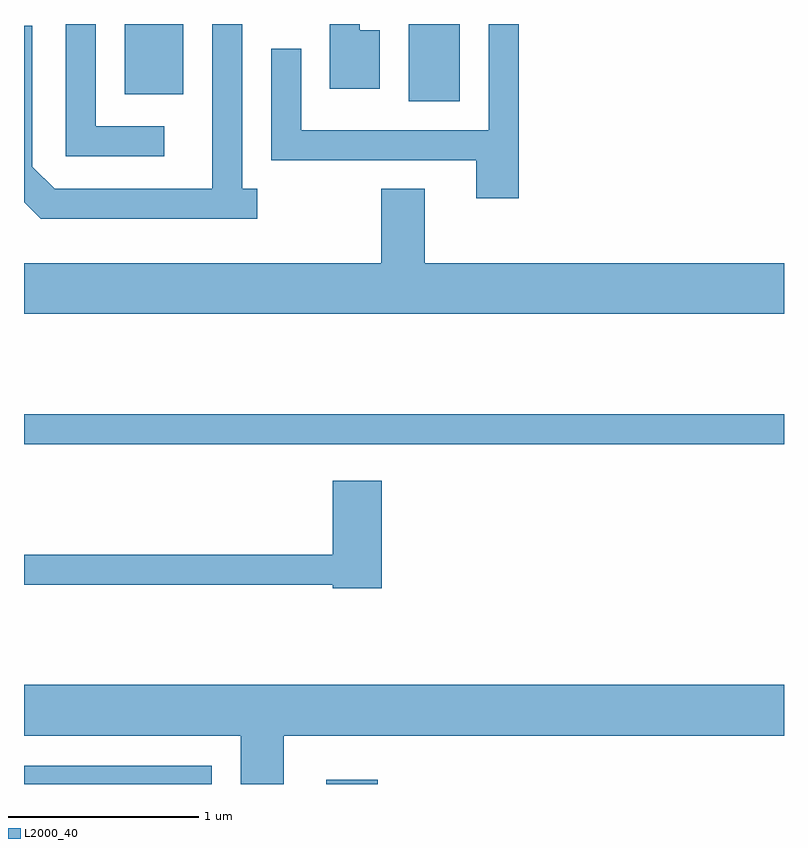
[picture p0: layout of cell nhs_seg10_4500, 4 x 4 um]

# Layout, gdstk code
import gdstk
lib = gdstk.Library(unit=1e-6, precision=1e-09)
def R(c, l, rs):  # rectangles x0, y0, x1, y1
    for r in rs: c.add(gdstk.rectangle(r[:2], r[2:], *l))
def P(c, l, *ps):  # polygons
    for p in ps: c.add(gdstk.Polygon(p, *l))
L2000_40 = (2000, 40)

nhs_seg10_4500 = lib.new_cell('nhs_seg10_4500')
R(nhs_seg10_4500, L2000_40, [(317.611,2142.522,318.599,2142.619), (319.203,2142.522,319.474,2142.544), (317.611,2144.311,321.611,2144.469), (319.636,2146.116,319.904,2146.522), (318.141,2146.151,318.449,2146.522)])
P(nhs_seg10_4500, L2000_40, [(318.838,2145.654),(318.759,2145.654),(318.759,2146.522),(318.601,2146.522),(318.601,2145.654),(317.772,2145.654),(317.654,2145.772),(317.654,2146.513),(317.611,2146.513),(317.611,2145.584),(317.699,2145.496),(318.838,2145.496)],
  [(320.214,2146.522),(320.056,2146.522),(320.056,2145.964),(319.069,2145.964),(319.069,2146.393),(318.911,2146.393),(318.911,2145.806),(319.991,2145.806),(319.991,2145.606),(320.214,2145.606)],
  [(318.348,2145.984),(317.989,2145.984),(317.989,2146.522),(317.831,2146.522),(317.831,2145.826),(318.348,2145.826)],
  [(319.484,2146.489),(319.379,2146.489),(319.379,2146.522),(319.221,2146.522),(319.221,2146.181),(319.484,2146.181)],
  [(321.611,2145.264),(319.719,2145.264),(319.719,2145.654),(319.491,2145.654),(319.491,2145.264),(317.611,2145.264),(317.611,2144.996),(321.611,2144.996)],
  [(319.494,2144.119),(319.236,2144.119),(319.236,2143.729),(317.611,2143.729),(317.611,2143.571),(319.236,2143.571),(319.236,2143.551),(319.494,2143.551)],
  [(318.979,2142.776),(321.611,2142.776),(321.611,2143.044),(317.611,2143.044),(317.611,2142.776),(318.751,2142.776),(318.751,2142.522),(318.979,2142.522)])

lib.write_gds('nhs_seg10_4500.gds')
